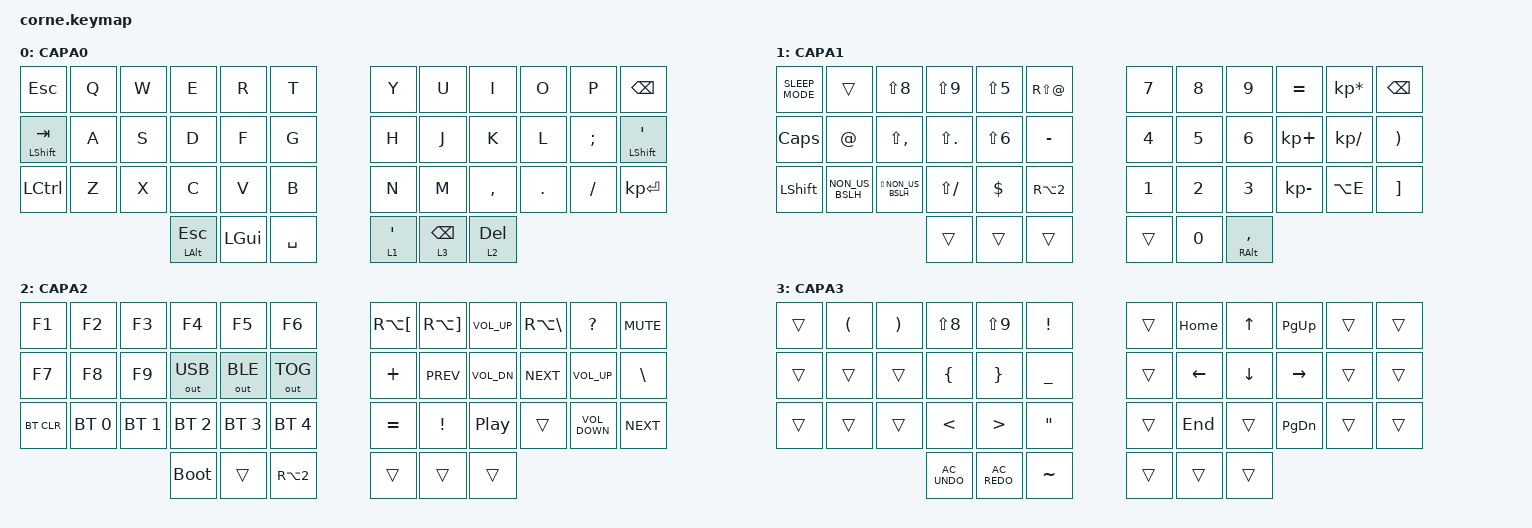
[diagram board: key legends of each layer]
/*
 * Copyright (c) 2020 The ZMK Contributors
 *
 * SPDX-License-Identifier: MIT
 */

#include <dt-bindings/led/led.h>
#include <behaviors.dtsi>
#include <dt-bindings/zmk/bt.h>
#include <dt-bindings/zmk/keys.h>
#include <dt-bindings/zmk/outputs.h>

/ {
    keymap {
        compatible = "zmk,keymap";

        CAPA0 {
            // -----------------------------------------------------------------------------------------
            // | ESC  |  Q  |  W  |  E  |  R  |  T  |   |  Y  |  U   |  I  |  O  |  P  | BKSP |
            // | TAB  |  A  |  S  |  D  |  F  |  G  |   |  H  |  J   |  K  |  L  |  ;  |  '   |
            // | SHFT |  Z  |  X  |  C  |  V  |  B  |   |  N  |  M   |  ,  |  .  |  /  | RET  |
            //                    | GUI | LWR | GUI |   | SPAC | RSE  | ALT |

            bindings = <
&kp ESC             &kp Q  &kp W  &kp E             &kp R         &kp T        &kp Y               &kp U            &kp I      &kp O    &kp P     &kp BSPC
&mt LEFT_SHIFT TAB  &kp A  &kp S  &kp D             &kp F         &kp G        &kp H               &kp J            &kp K      &kp L    &kp SEMI  &mt LEFT_SHIFT SINGLE_QUOTE
&kp LEFT_CONTROL    &kp Z  &kp X  &kp C             &kp V         &kp B        &kp N               &kp M            &kp COMMA  &kp DOT  &kp FSLH  &kp KP_ENTER
                                  &mt LEFT_ALT ESC  &kp LEFT_GUI  &kp SPACE    &lt 1 SINGLE_QUOTE  &lt 3 BACKSPACE  &lt 2 DEL
            >;
        };

        CAPA1 {
            // -----------------------------------------------------------------------------------------
            // | ESC  |     |  (  |  )  |  %  |  "  |   |  ,  |  7  |  8  |  9  |  /  | BKSP |
            // |      |     |  ;  |  :  |  &  |  '  |   |  .  |  4  |  5  |  6  |  *  |  =   |
            // | LCAPS|  <  |  >  |  _  |  $  |  @  |   |     |  1  |  2  |  3  |  -  |  +   |
            //                    | GUI |     |CTRL |   | ENT |  0   | ALT |

            bindings = <
&kp C_SLEEP_MODE  &trans           &kp LS(N8)           &kp LS(N9)    &kp LS(N5)  &kp RS(AT)    &kp N7  &kp N8        &kp N9          &kp EQUAL     &kp KP_MULTIPLY  &kp BSPC
&kp CLCK          &kp AT           &kp LS(COMMA)        &kp LS(DOT)   &kp LS(N6)  &kp MINUS     &kp N4  &kp N5        &kp N6          &kp KP_PLUS   &kp KP_DIVIDE    &kp RPAR
&kp LSHFT         &kp NON_US_BSLH  &kp LS(NON_US_BSLH)  &kp LS(FSLH)  &kp DLLR    &kp RA(N2)    &kp N1  &kp N2        &kp N3          &kp KP_MINUS  &kp LA(E)        &kp RBKT
                                                        &trans        &trans      &trans        &trans  &kp NUMBER_0  &mt RALT COMMA
            >;
        };

        CAPA2 {
            // -----------------------------------------------------------------------------------------
            // | F1  | F2 |  F3 | F4  | F5  | F6  |     | [  |  ]  |  {  |  }  | PSCR| BKSP |
            // | F7  | F8 |  F9 | F10 | F11 | F12 |     | ¿  |  ?  |  #  |  &  | UP  |  ç   |
            // |BTCLR| BT1 | BT2| BT3 |BT4  | BT5 |     |  ¡ |  !  |  %  |  L  | DOWN|  R   |
            //             | bootloader |  _  | @   |     | ENT|     | ALT |
            //&kp PIPE=Ç    |    &kp TILDE ª  | &kp EQUAL=¡  |

            bindings = <
&kp F1      &kp F2        &kp F3        &kp F4        &kp F5        &kp F6          &kp RA(LBKT)  &kp RA(RBKT)  &kp C_VOL_UP      &kp RA(BSLH)  &kp QUESTION       &kp C_MUTE
&kp F7      &kp F8        &kp F9        &out OUT_USB  &out OUT_BLE  &out OUT_TOG    &kp PLUS      &kp C_PREV    &kp C_VOL_DN      &kp C_NEXT    &kp C_VOL_UP       &kp BSLH
&bt BT_CLR  &bt BT_SEL 0  &bt BT_SEL 1  &bt BT_SEL 2  &bt BT_SEL 3  &bt BT_SEL 4    &kp EQUAL     &kp EXCL      &kp C_PLAY_PAUSE  &trans        &kp C_VOLUME_DOWN  &kp C_NEXT
                                        &bootloader   &trans        &kp RA(N2)      &trans        &trans        &trans
            >;
        };

        CAPA3 {
            bindings = <
&trans  &kp LEFT_PARENTHESIS  &kp RIGHT_PARENTHESIS  &kp LS(N8)      &kp LS(N9)        &kp EXCL             &trans  &kp HOME  &kp UP_ARROW  &kp PG_UP      &trans  &trans
&trans  &trans                &trans                 &kp LEFT_BRACE  &kp RIGHT_BRACE   &kp UNDERSCORE       &trans  &kp LEFT  &kp DOWN      &kp RIGHT      &trans  &trans
&trans  &trans                &trans                 &kp LESS_THAN   &kp GREATER_THAN  &kp DOUBLE_QUOTES    &trans  &kp END   &trans        &kp PAGE_DOWN  &trans  &trans
                                                     &kp C_AC_UNDO   &kp C_AC_REDO     &kp TILDE            &trans  &trans    &trans
            >;
        };
    };
};
